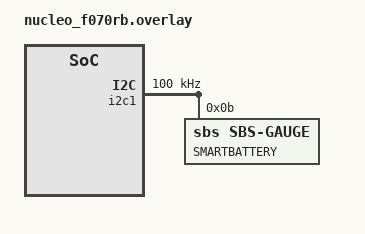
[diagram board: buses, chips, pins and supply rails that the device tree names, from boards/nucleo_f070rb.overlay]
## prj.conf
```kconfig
CONFIG_ZTEST=y
CONFIG_SENSOR=y
CONFIG_I2C=y
CONFIG_SBS_GAUGE=y
CONFIG_TEST_USERSPACE=y
CONFIG_LOG=y
```

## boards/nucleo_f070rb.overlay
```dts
/*
 * Copyright (c) 2021 Leica Geosystems AG
 *
 * SPDX-License-Identifier: Apache-2.0
 */

&i2c1 {
	clock-frequency = <I2C_BITRATE_STANDARD>;
	timings = <32000000 I2C_BITRATE_STANDARD 0x10E03E52>;
	smartbattery0: smartbattery@b {
		compatible = "sbs,sbs-gauge";
		reg = <0x0B>;
		label = "SMARTBATTERY";
		status = "okay";
	};
};
```

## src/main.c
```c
/*
 * Copyright (c) 2021 Leica Geosystems AG
 *
 * SPDX-License-Identifier: Apache-2.0
 */

#include <ztest.h>

#include "test_sbs_gauge.h"

void test_main(void)
{
	ztest_test_suite(framework_tests,
		ztest_unit_test(test_get_gauge_voltage),
		ztest_unit_test(test_get_gauge_current),
		ztest_unit_test(test_get_stdby_current),
		ztest_unit_test(test_get_max_load_current),
		ztest_unit_test(test_get_temperature),
		ztest_unit_test(test_get_soc),
		ztest_unit_test(test_get_full_charge_capacity),
		ztest_unit_test(test_get_rem_charge_capacity),
		ztest_unit_test(test_get_nom_avail_capacity),
		ztest_unit_test(test_get_full_avail_capacity),
		ztest_unit_test(test_get_average_power),
		ztest_unit_test(test_get_average_time_to_empty),
		ztest_unit_test(test_get_average_time_to_full),
		ztest_unit_test(test_get_cycle_count),
		ztest_unit_test(test_get_design_voltage),
		ztest_unit_test(test_get_desired_voltage),
		ztest_unit_test(test_get_desired_chg_current),
		ztest_unit_test(test_not_supported_channel)
	);

	ztest_run_test_suite(framework_tests);
}
```

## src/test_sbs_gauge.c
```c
/*
 * Copyright (c) 2021 Leica Geosystems AG
 *
 * SPDX-License-Identifier: Apache-2.0
 */

#include <zephyr.h>
#include <ztest.h>
#include <drivers/sensor.h>

const struct device *get_fuel_gauge_device(void)
{
	const struct device *dev = DEVICE_DT_GET_ANY(sbs_sbs_gauge);

	zassert_true(device_is_ready(dev), "Fuel Gauge not found");

	return dev;
}

void test_get_sensor_value(int16_t channel)
{
	struct sensor_value value;
	const struct device *dev = get_fuel_gauge_device();

	zassert_true(sensor_sample_fetch_chan(dev, channel) < 0, "Sample fetch failed");
	zassert_true(sensor_channel_get(dev, channel, &value) < 0, "Get sensor value failed");
}

void test_get_sensor_value_not_supp(int16_t channel)
{
	const struct device *dev = get_fuel_gauge_device();

	zassert_true(sensor_sample_fetch_chan(dev, channel) == -ENOTSUP, "Invalid function");
}

void test_get_gauge_voltage(void)
{
	test_get_sensor_value(SENSOR_CHAN_GAUGE_VOLTAGE);
}

void test_get_gauge_current(void)
{
	test_get_sensor_value(SENSOR_CHAN_GAUGE_AVG_CURRENT);
}

void test_get_stdby_current(void)
{
	test_get_sensor_value(SENSOR_CHAN_GAUGE_STDBY_CURRENT);
}

void test_get_max_load_current(void)
{
	test_get_sensor_value(SENSOR_CHAN_GAUGE_MAX_LOAD_CURRENT);
}

void test_get_temperature(void)
{
	test_get_sensor_value(SENSOR_CHAN_GAUGE_TEMP);
}

void test_get_soc(void)
{
	test_get_sensor_value(SENSOR_CHAN_GAUGE_STATE_OF_CHARGE);
}

void test_get_full_charge_capacity(void)
{
	test_get_sensor_value(SENSOR_CHAN_GAUGE_FULL_CHARGE_CAPACITY);
}

void test_get_rem_charge_capacity(void)
{
	test_get_sensor_value(SENSOR_CHAN_GAUGE_REMAINING_CHARGE_CAPACITY);
}

void test_get_nom_avail_capacity(void)
{
	test_get_sensor_value(SENSOR_CHAN_GAUGE_NOM_AVAIL_CAPACITY);
}

void test_get_full_avail_capacity(void)
{
	test_get_sensor_value(SENSOR_CHAN_GAUGE_FULL_AVAIL_CAPACITY);
}

void test_get_average_power(void)
{
	test_get_sensor_value(SENSOR_CHAN_GAUGE_AVG_POWER);
}

void test_get_average_time_to_empty(void)
{
	test_get_sensor_value(SENSOR_CHAN_GAUGE_TIME_TO_EMPTY);
}

void test_get_average_time_to_full(void)
{
	test_get_sensor_value(SENSOR_CHAN_GAUGE_TIME_TO_FULL);
}

void test_get_cycle_count(void)
{
	test_get_sensor_value(SENSOR_CHAN_GAUGE_CYCLE_COUNT);
}

void test_get_design_voltage(void)
{
	test_get_sensor_value(SENSOR_CHAN_GAUGE_DESIGN_VOLTAGE);
}

void test_get_desired_voltage(void)
{
	test_get_sensor_value(SENSOR_CHAN_GAUGE_DESIRED_VOLTAGE);
}

void test_get_desired_chg_current(void)
{
	test_get_sensor_value(SENSOR_CHAN_GAUGE_DESIRED_CHARGING_CURRENT);
}

void test_not_supported_channel(void)
{
	uint8_t channel;

	for (channel = SENSOR_CHAN_ACCEL_X; channel <= SENSOR_CHAN_RPM; channel++) {
		test_get_sensor_value_not_supp(channel);
	}
	/* SOH is not defined in the SBS 1.1 specifications */
	test_get_sensor_value_not_supp(SENSOR_CHAN_GAUGE_STATE_OF_HEALTH);
}
```

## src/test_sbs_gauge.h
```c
/*
 * Copyright (c) 2021 Leica Geosystems AG
 *
 * SPDX-License-Identifier: Apache-2.0
 */

#ifndef __TEST_SBS_GAUGE_H_
#define __TEST_SBS_GAUGE_H_

const struct device *get_fuel_gauge_device(void);

void test_get_sensor_value(int16_t channel);
void test_get_sensor_value_not_supp(int16_t channel);

void test_get_gauge_voltage(void);
void test_get_gauge_current(void);
void test_get_stdby_current(void);
void test_get_max_load_current(void);
void test_get_temperature(void);
void test_get_soc(void);
void test_get_full_charge_capacity(void);
void test_get_rem_charge_capacity(void);
void test_get_nom_avail_capacity(void);
void test_get_full_avail_capacity(void);
void test_get_average_power(void);
void test_get_average_time_to_empty(void);
void test_get_average_time_to_full(void);
void test_get_cycle_count(void);
void test_get_design_voltage(void);
void test_get_desired_voltage(void);
void test_get_desired_chg_current(void);

void test_not_supported_channel(void);

#endif /* __TEST_SBS_GAUGE_H_ */
```
